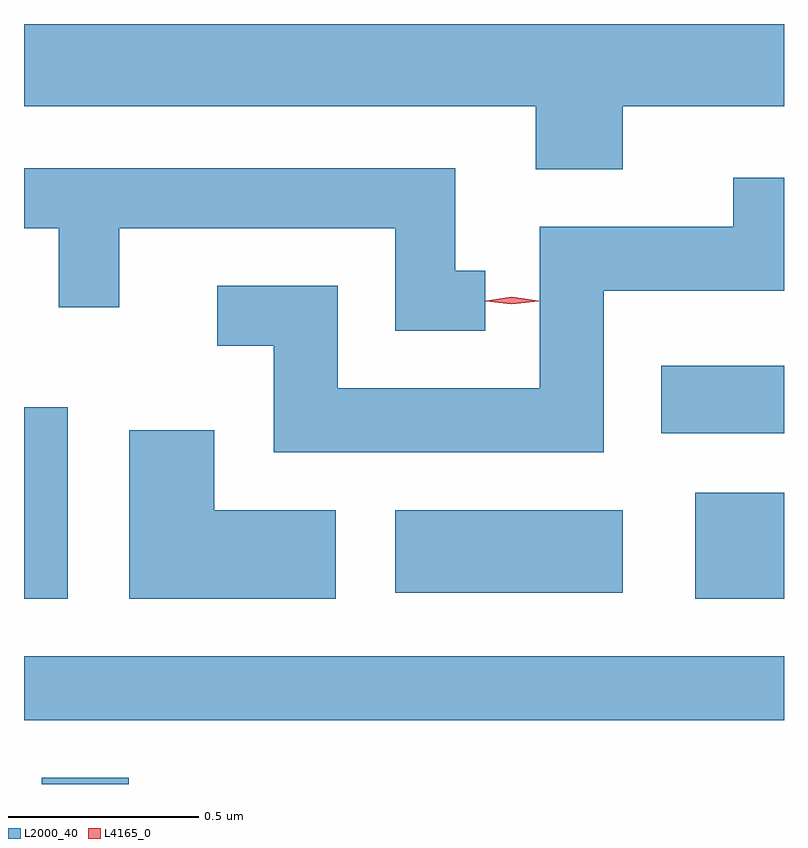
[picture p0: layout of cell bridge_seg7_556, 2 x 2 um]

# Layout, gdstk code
import gdstk
lib = gdstk.Library(unit=1e-6, precision=1e-09)
def R(c, l, rs):  # rectangles x0, y0, x1, y1
    for r in rs: c.add(gdstk.rectangle(r[:2], r[2:], *l))
def P(c, l, *ps):  # polygons
    for p in ps: c.add(gdstk.Polygon(p, *l))
L2000_40 = (2000, 40)
L4165_0 = (4165, 0)

bridge_seg7_556 = lib.new_cell('bridge_seg7_556')
R(bridge_seg7_556, L2000_40, [(918.491,1761.373,918.719,1761.389), (918.444,1761.541,920.444,1761.709), (918.444,1761.861,918.559,1762.364), (920.211,1761.861,920.444,1762.139), (919.421,1761.876,920.019,1762.094), (920.121,1762.296,920.444,1762.474)])
P(bridge_seg7_556, L2000_40, [(920.019,1763.156),(920.444,1763.156),(920.444,1763.373),(918.444,1763.373),(918.444,1763.156),(919.791,1763.156),(919.791,1762.991),(920.019,1762.991)],
  [(919.658,1762.724),(919.579,1762.724),(919.579,1762.994),(918.444,1762.994),(918.444,1762.836),(918.536,1762.836),(918.536,1762.628),(918.694,1762.628),(918.694,1762.836),(919.421,1762.836),(919.421,1762.566),(919.658,1762.566)],
  [(919.969,1762.671),(920.444,1762.671),(920.444,1762.968),(920.311,1762.968),(920.311,1762.839),(919.801,1762.839),(919.801,1762.414),(919.269,1762.414),(919.269,1762.684),(918.953,1762.684),(918.953,1762.526),(919.101,1762.526),(919.101,1762.246),(919.969,1762.246)],
  [(919.264,1762.094),(918.944,1762.094),(918.944,1762.304),(918.721,1762.304),(918.721,1761.861),(919.264,1761.861)])
P(bridge_seg7_556, L4165_0, [(919.728,1762.635),(919.659,1762.644),(919.659,1762.645),(919.659,1762.645),(919.728,1762.655),(919.798,1762.645),(919.798,1762.645),(919.798,1762.644)])

lib.write_gds('bridge_seg7_556.gds')
